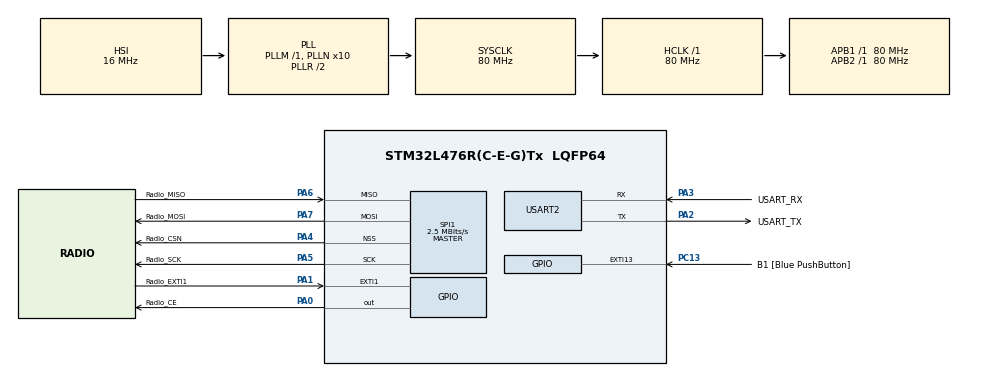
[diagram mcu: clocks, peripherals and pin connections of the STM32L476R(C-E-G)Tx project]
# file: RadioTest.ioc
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Mcu.Family=STM32L4
Mcu.Name=STM32L476R(C-E-G)Tx
Mcu.Package=LQFP64
NVIC.PriorityGroup=NVIC_PRIORITYGROUP_4
PA0.GPIO_Label=Radio_CE
PA0.Signal=GPIO_Output
PA1.GPIO_Label=Radio_EXTI1
PA1.Signal=GPXTI1
PA13\ (JTMS-SWDIO).GPIO_Label=TMS
PA13\ (JTMS-SWDIO).Mode=Serial_Wire
PA13\ (JTMS-SWDIO).Signal=SYS_JTMS-SWDIO
PA14\ (JTCK-SWCLK).GPIO_Label=TCK
PA14\ (JTCK-SWCLK).Mode=Serial_Wire
PA14\ (JTCK-SWCLK).Signal=SYS_JTCK-SWCLK
PA2.GPIO_Label=USART_TX
PA2.GPIO_Mode=GPIO_MODE_AF_PP
PA2.GPIO_PuPd=GPIO_NOPULL
PA2.GPIO_Speed=GPIO_SPEED_FREQ_VERY_HIGH
PA2.Mode=Asynchronous
PA2.Signal=USART2_TX
PA3.GPIO_Label=USART_RX
PA3.GPIO_Mode=GPIO_MODE_AF_PP
PA3.GPIO_PuPd=GPIO_NOPULL
PA3.GPIO_Speed=GPIO_SPEED_FREQ_VERY_HIGH
PA3.Mode=Asynchronous
PA3.Signal=USART2_RX
PA4.GPIO_Label=Radio_CSN
PA4.Mode=NSS_Signal_Hard_Output
PA4.Signal=SPI1_NSS
PA5.GPIO_Label=Radio_SCK
PA5.Mode=Full_Duplex_Master
PA5.Signal=SPI1_SCK
PA6.GPIO_Label=Radio_MISO
PA6.Mode=Full_Duplex_Master
PA6.Signal=SPI1_MISO
PA7.GPIO_Label=Radio_MOSI
PA7.Mode=Full_Duplex_Master
PA7.Signal=SPI1_MOSI
PB3\ (JTDO-TRACESWO).GPIO_Label=SWO
PB3\ (JTDO-TRACESWO).Signal=SYS_JTDO-SWO
PC13.GPIO_Label=B1 [Blue PushButton]
PC13.GPIO_ModeDefaultEXTI=GPIO_MODE_IT_FALLING
PC13.GPIO_PuPd=GPIO_NOPULL
PC13.Signal=GPXTI13
PC14-OSC32_IN\ (PC14).Mode=LSE-External-Oscillator
PC14-OSC32_IN\ (PC14).Signal=RCC_OSC32_IN
PC15-OSC32_OUT\ (PC15).Mode=LSE-External-Oscillator
PC15-OSC32_OUT\ (PC15).Signal=RCC_OSC32_OUT
PH0-OSC_IN\ (PH0).Signal=RCC_OSC_IN
PH1-OSC_OUT\ (PH1).Signal=RCC_OSC_OUT
ProjectManager.HeapSize=0x200
ProjectManager.StackSize=0x400
ProjectManager.TargetToolchain=STM32CubeIDE
RCC.ADCFreq_Value=64000000
RCC.AHBFreq_Value=80000000
RCC.APB1Freq_Value=80000000
RCC.APB1TimFreq_Value=80000000
RCC.APB2Freq_Value=80000000
RCC.APB2TimFreq_Value=80000000
RCC.CortexFreq_Value=80000000
RCC.HCLKFreq_Value=80000000
RCC.HSE_VALUE=8000000
RCC.HSI_VALUE=16000000
RCC.MSI_VALUE=4000000
RCC.PLLN=10
RCC.PLLSourceVirtual=RCC_PLLSOURCE_HSI
RCC.PREFETCH_ENABLE=1
RCC.SYSCLKFreq_VALUE=80000000
RCC.SYSCLKSource=RCC_SYSCLKSOURCE_PLLCLK
RCC.USBFreq_Value=64000000
RCC.VCOOutputFreq_Value=160000000
SPI1.BaudRatePrescaler=SPI_BAUDRATEPRESCALER_32
SPI1.CalculateBaudRate=2.5 MBits/s
SPI1.Direction=SPI_DIRECTION_2LINES
SPI1.Mode=SPI_MODE_MASTER
SPI1.VirtualNSS=VM_NSSHARD
SPI1.VirtualType=VM_MASTER
USART2.VirtualMode-Asynchronous=VM_ASYNC
board=NUCLEO-L476RG

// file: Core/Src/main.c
/* USER CODE BEGIN Header */
/**
  ******************************************************************************
  * @file           : main.c
  * @brief          : Main program body
  ******************************************************************************
  * @attention
  *
  * Copyright (c) 2026 STMicroelectronics.
  * All rights reserved.
  *
  * This software is licensed under terms that can be found in the LICENSE file
  * in the root directory of this software component.
  * If no LICENSE file comes with this software, it is provided AS-IS.
  *
  ******************************************************************************
  */
/* USER CODE END Header */
#include "main.h"

/* USER CODE BEGIN Includes */
#include <stdio.h>
#include <string.h>
/* USER CODE END Includes */

/* USER CODE BEGIN PM */

#define RX_REGISTER   0x00
#define PWR_REGISTER  0x02
#define R_REGISTER    0x00	// to read a register, OR this with 000 A AAAA (A's are the register address)
							// for example, to read STATUS (0x07), do (R_REGISTER | (0x07 & 0x1F)) XXX (0x1F is 0001 1111)
#define W_REGISTER    0x20
#define R_RX_PAYLOAD  0x61
#define W_TX_PAYLOAD  0xA0

#define CONFIG 	      0x00

#define CSN_HIGH() HAL_GPIO_WritePin(Radio_CSN_GPIO_Port, Radio_CSN_Pin, GPIO_PIN_SET)
#define CSN_LOW() HAL_GPIO_WritePin(Radio_CSN_GPIO_Port, Radio_CSN_Pin, GPIO_PIN_RESET)

/* USER CODE END PM */

SPI_HandleTypeDef hspi1;

UART_HandleTypeDef huart2;

/* USER CODE BEGIN PV */
uint16_t RadioData[200];

/* USER CODE END PV */

void SystemClock_Config(void);
static void MX_GPIO_Init(void);
static void MX_SPI1_Init(void);
static void MX_USART2_UART_Init(void);
/* USER CODE BEGIN PFP */
// commands
void TransmitToPC(uint16_t data[]);
void SendCmdToRadio(uint8_t, uint8_t);

// Operating Modes
void SetPowerDown(void);
void SetStandby1(void);
void SetStandby2(void);
void SetTransmitMode(void);
void SetReceiveMode(void);

// read registers
uint8_t ReadRegister(uint8_t);

/* USER CODE END PFP */

int main(void)
{

  /* MCU Configuration--------------------------------------------------------*/

  /* Reset of all peripherals, Initializes the Flash interface and the Systick. */
  HAL_Init();

  /* Configure the system clock */
  SystemClock_Config();

  /* Initialize all configured peripherals */
  MX_GPIO_Init();
  MX_SPI1_Init();
  MX_USART2_UART_Init();

  /* Infinite loop */
  /* USER CODE BEGIN WHILE */
  while (1)
  {
	  HAL_Delay(2000);

	      uint8_t config = ReadRegister(CONFIG);

	      char message[32];

	      snprintf(message, sizeof(message),
	               "CONFIG = 0x%02X\r\n", config);

	      HAL_UART_Transmit(&huart2,
	                        (uint8_t*)message,
	                        strlen(message),
	                        HAL_MAX_DELAY);
	  SetPowerDown();
    /* USER CODE END WHILE */

  }
}

void SystemClock_Config(void)
{
  RCC_OscInitTypeDef RCC_OscInitStruct = {0};
  RCC_ClkInitTypeDef RCC_ClkInitStruct = {0};

  /** Configure the main internal regulator output voltage
  */
  if (HAL_PWREx_ControlVoltageScaling(PWR_REGULATOR_VOLTAGE_SCALE1) != HAL_OK)
  {
    Error_Handler();
  }

  /** Initializes the RCC Oscillators according to the specified parameters
  * in the RCC_OscInitTypeDef structure.
  */
  RCC_OscInitStruct.OscillatorType = RCC_OSCILLATORTYPE_HSI;
  RCC_OscInitStruct.HSIState = RCC_HSI_ON;
  RCC_OscInitStruct.HSICalibrationValue = RCC_HSICALIBRATION_DEFAULT;
  RCC_OscInitStruct.PLL.PLLState = RCC_PLL_ON;
  RCC_OscInitStruct.PLL.PLLSource = RCC_PLLSOURCE_HSI;
  RCC_OscInitStruct.PLL.PLLM = 1;
  RCC_OscInitStruct.PLL.PLLN = 10;
  RCC_OscInitStruct.PLL.PLLP = RCC_PLLP_DIV7;
  RCC_OscInitStruct.PLL.PLLQ = RCC_PLLQ_DIV2;
  RCC_OscInitStruct.PLL.PLLR = RCC_PLLR_DIV2;
  if (HAL_RCC_OscConfig(&RCC_OscInitStruct) != HAL_OK)
  {
    Error_Handler();
  }

  /** Initializes the CPU, AHB and APB buses clocks
  */
  RCC_ClkInitStruct.ClockType = RCC_CLOCKTYPE_HCLK|RCC_CLOCKTYPE_SYSCLK
                              |RCC_CLOCKTYPE_PCLK1|RCC_CLOCKTYPE_PCLK2;
  RCC_ClkInitStruct.SYSCLKSource = RCC_SYSCLKSOURCE_PLLCLK;
  RCC_ClkInitStruct.AHBCLKDivider = RCC_SYSCLK_DIV1;
  RCC_ClkInitStruct.APB1CLKDivider = RCC_HCLK_DIV1;
  RCC_ClkInitStruct.APB2CLKDivider = RCC_HCLK_DIV1;

  if (HAL_RCC_ClockConfig(&RCC_ClkInitStruct, FLASH_LATENCY_4) != HAL_OK)
  {
    Error_Handler();
  }
}

static void MX_SPI1_Init(void)
{

  /* SPI1 parameter configuration*/
  hspi1.Instance = SPI1;
  hspi1.Init.Mode = SPI_MODE_MASTER;
  hspi1.Init.Direction = SPI_DIRECTION_2LINES;
  hspi1.Init.DataSize = SPI_DATASIZE_4BIT;
  hspi1.Init.CLKPolarity = SPI_POLARITY_LOW;
  hspi1.Init.CLKPhase = SPI_PHASE_1EDGE;
  hspi1.Init.NSS = SPI_NSS_HARD_OUTPUT;
  hspi1.Init.BaudRatePrescaler = SPI_BAUDRATEPRESCALER_32;
  hspi1.Init.FirstBit = SPI_FIRSTBIT_MSB;
  hspi1.Init.TIMode = SPI_TIMODE_DISABLE;
  hspi1.Init.CRCCalculation = SPI_CRCCALCULATION_DISABLE;
  hspi1.Init.CRCPolynomial = 7;
  hspi1.Init.CRCLength = SPI_CRC_LENGTH_DATASIZE;
  hspi1.Init.NSSPMode = SPI_NSS_PULSE_ENABLE;
  if (HAL_SPI_Init(&hspi1) != HAL_OK)
  {
    Error_Handler();
  }

}

static void MX_USART2_UART_Init(void)
{

  huart2.Instance = USART2;
  huart2.Init.BaudRate = 115200;
  huart2.Init.WordLength = UART_WORDLENGTH_8B;
  huart2.Init.StopBits = UART_STOPBITS_1;
  huart2.Init.Parity = UART_PARITY_NONE;
  huart2.Init.Mode = UART_MODE_TX_RX;
  huart2.Init.HwFlowCtl = UART_HWCONTROL_NONE;
  huart2.Init.OverSampling = UART_OVERSAMPLING_16;
  huart2.Init.OneBitSampling = UART_ONE_BIT_SAMPLE_DISABLE;
  huart2.AdvancedInit.AdvFeatureInit = UART_ADVFEATURE_NO_INIT;
  if (HAL_UART_Init(&huart2) != HAL_OK)
  {
    Error_Handler();
  }

}

static void MX_GPIO_Init(void)
{
  GPIO_InitTypeDef GPIO_InitStruct = {0};

  /* GPIO Ports Clock Enable */
  __HAL_RCC_GPIOC_CLK_ENABLE();
  __HAL_RCC_GPIOH_CLK_ENABLE();
  __HAL_RCC_GPIOA_CLK_ENABLE();
  __HAL_RCC_GPIOB_CLK_ENABLE();

  /*Configure GPIO pin Output Level */
  HAL_GPIO_WritePin(Radio_CE_GPIO_Port, Radio_CE_Pin, GPIO_PIN_RESET);

  /*Configure GPIO pin : B1_Pin */
  GPIO_InitStruct.Pin = B1_Pin;
  GPIO_InitStruct.Mode = GPIO_MODE_IT_FALLING;
  GPIO_InitStruct.Pull = GPIO_NOPULL;
  HAL_GPIO_Init(B1_GPIO_Port, &GPIO_InitStruct);

  /*Configure GPIO pin : Radio_CE_Pin */
  GPIO_InitStruct.Pin = Radio_CE_Pin;
  GPIO_InitStruct.Mode = GPIO_MODE_OUTPUT_PP;
  GPIO_InitStruct.Pull = GPIO_NOPULL;
  GPIO_InitStruct.Speed = GPIO_SPEED_FREQ_LOW;
  HAL_GPIO_Init(Radio_CE_GPIO_Port, &GPIO_InitStruct);

  /*Configure GPIO pin : Radio_EXTI1_Pin */
  GPIO_InitStruct.Pin = Radio_EXTI1_Pin;
  GPIO_InitStruct.Mode = GPIO_MODE_IT_RISING;
  GPIO_InitStruct.Pull = GPIO_NOPULL;
  HAL_GPIO_Init(Radio_EXTI1_GPIO_Port, &GPIO_InitStruct);

}

/* USER CODE BEGIN 4 */

uint8_t ReadRegister(uint8_t address){
	uint8_t tx[2] = { address & 0x1F, 0xFF};
	uint8_t rx[2];
	CSN_LOW();

	HAL_SPI_TransmitReceive(&hspi1, tx, rx, 2, HAL_MAX_DELAY);

	CSN_HIGH();
	return rx[1];
}

void TransmitToPC(uint16_t data[]){

}

void SendCmdToRadio(uint8_t address, uint8_t newValue){
				// each new command must start with a high to low transition. finish message by setting CSN
	CSN_LOW();
	uint8_t tx[2] = {address | 0x20, };

	CSN_HIGH();
}

void SetPowerDown(){
	uint8_t reg = ReadRegister(CONFIG) | PWR_REGISTER;
	SendCmdToRadio(CONFIG, reg);
}

void SetStandby1(void){

}

void SetStandby2(void){

}

void SetTransmitMode(void){

}

void SetReceiveMode(void){

}

/* USER CODE END 4 */

void Error_Handler(void)
{
  __disable_irq();
  while (1)
  {
  }
}
